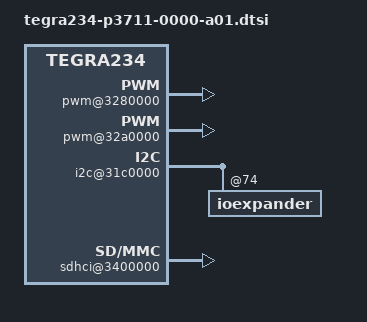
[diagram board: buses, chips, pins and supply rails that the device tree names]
// SPDX-License-Identifier: GPL-2.0-only
/*
 *
 * Copyright (c) 2021-2022, NVIDIA CORPORATION & AFFILIATES. All rights reserved.
 *
 */

#include <t234-common-cvb/tegra234-p3711-common.dtsi>
#include <t234-common-cvb/tegra234-p3711-audio.dtsi>
#include "tegra234-p3711-camera-p3715.dtsi"
#include "tegra234-p3711-pcie-p3712.dtsi"

/ {
	reserved-memory {
		linux,cma {
			status = "okay";
		};
	};

	pwm@3280000 {
		status = "okay";
	};

	pwm@32a0000 {
		status = "okay";
	};

	tachometer@39b0000 {
		status = "okay";
	};

	tachometer@39c0000 {
		status = "okay";
	};

	/* Update sound card names based on the platform model */
	hda@3510000 {
		nvidia,model = "NVIDIA Holoscan HDA";
		status = "okay";
	};

	sound {
		nvidia-audio-card,name = "NVIDIA Holoscan APE";
		status = "okay";
	};

	i2c@31c0000 {
		ioexpander@74 {
			/* set BMC_DBG_MUX_SEL high to select BMC PCIe lanes in mux U6 */
			bmc_dbg_mux_sel {
				gpio-hog;
				output-high;
				gpios = <6 0>;
				label = "bmc_pcie_mux_sel";
				status = "okay";
			};
		};
	};

	sdhci@3400000 {
		status = "okay";
	};

	stm@24080000 {
		status = "disabled";
	};

	cpu0_etm@27040000 {
		status = "disabled";
	};

	cpu1_etm@27140000 {
		status = "disabled";
	};

	cpu2_etm@27240000 {
		status = "disabled";
	};

	cpu3_etm@27340000 {
		status = "disabled";
	};

	cpu4_etm@27440000 {
		status = "disabled";
	};

	cpu5_etm@27540000 {
		status = "disabled";
	};

	cpu6_etm@27640000 {
		status = "disabled";
	};

	cpu7_etm@27740000 {
		status = "disabled";
	};

	cpu8_etm@27840000 {
		status = "disabled";
	};

	cpu9_etm@27940000 {
		status = "disabled";
	};

	cpu10_etm@27A40000 {
		status = "disabled";
	};

	cpu11_etm@27B40000 {
		status = "disabled";
	};

	funnel_ccplex0@26030000 {
		status = "disabled";
	};

	funnel_ccplex1@26040000 {
		status = "disabled";
	};

	funnel_ccplex2@26050000 {
		status = "disabled";
	};

	funnel_top_ccplex@26020000 {
		status = "disabled";
	};

	funnel_major@24040000 {
		status = "disabled";
	};

	replicator@24060000 {
		status = "disabled";
	};

	etf@24050000 {
		status = "disabled";
	};

	etr@24070000 {
		status = "disabled";
	};
};
